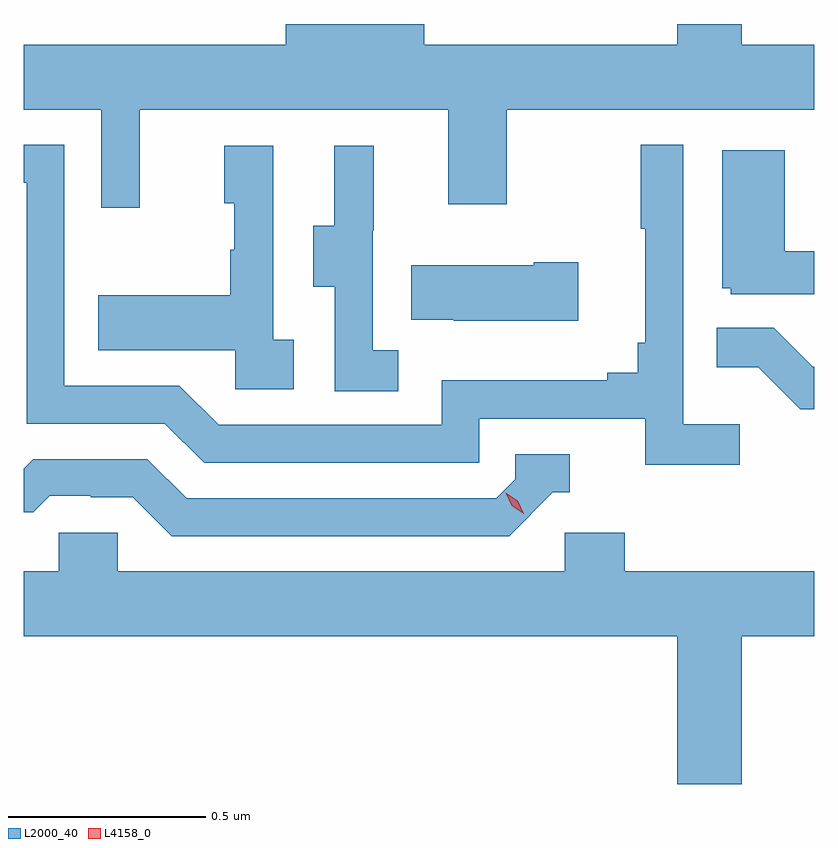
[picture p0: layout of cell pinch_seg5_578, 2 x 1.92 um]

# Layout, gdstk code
import gdstk
lib = gdstk.Library(unit=1e-6, precision=1e-09)
def P(c, l, *ps):  # polygons
    for p in ps: c.add(gdstk.Polygon(p, *l))
L2000_40 = (2000, 40)
L4158_0 = (4158, 0)

pinch_seg5_578 = lib.new_cell('pinch_seg5_578')
P(pinch_seg5_578, L2000_40, [(1110.701,867.416),(1111.481,867.416),(1111.481,867.177),(1111.629,867.177),(1111.629,867.416),(1112.407,867.416),(1112.407,867.58),(1112.224,867.58),(1112.224,867.633),(1112.06,867.633),(1112.06,867.58),(1111.42,867.58),(1111.42,867.633),(1111.07,867.633),(1111.07,867.58),(1110.407,867.58),(1110.407,867.416),(1110.603,867.416),(1110.603,867.168),(1110.701,867.168)],
  [(1112.218,866.62),(1112.076,866.62),(1112.076,867.328),(1111.968,867.328),(1111.968,867.115),(1111.979,867.115),(1111.979,866.827),(1111.96,866.827),(1111.96,866.75),(1111.883,866.75),(1111.883,866.731),(1111.464,866.731),(1111.464,866.619),(1110.9,866.619),(1110.801,866.718),(1110.51,866.718),(1110.51,867.327),(1110.407,867.327),(1110.407,867.231),(1110.414,867.231),(1110.414,866.622),(1110.764,866.622),(1110.863,866.523),(1111.56,866.523),(1111.56,866.634),(1111.979,866.634),(1111.979,866.518),(1112.218,866.518)],
  [(1111.09,866.834),(1111.038,866.834),(1111.038,867.325),(1110.914,867.325),(1110.914,867.18),(1110.94,867.18),(1110.94,867.062),(1110.93,867.062),(1110.93,866.947),(1110.595,866.947),(1110.595,866.807),(1110.942,866.807),(1110.942,866.709),(1111.09,866.709)],
  [(1111.354,866.807),(1111.29,866.807),(1111.29,867.111),(1111.292,867.111),(1111.292,867.325),(1111.193,867.325),(1111.193,867.123),(1111.139,867.123),(1111.139,866.968),(1111.194,866.968),(1111.194,866.704),(1111.354,866.704)],
  [(1112.407,867.058),(1112.332,867.058),(1112.332,867.313),(1112.174,867.313),(1112.174,866.964),(1112.196,866.964),(1112.196,866.949),(1112.407,866.949)],
  [(1111.81,867.03),(1111.697,867.03),(1111.697,867.022),(1111.387,867.022),(1111.387,866.885),(1111.495,866.885),(1111.495,866.882),(1111.81,866.882)],
  [(1112.407,866.766),(1112.403,866.766),(1112.305,866.864),(1112.161,866.864),(1112.161,866.765),(1112.265,866.765),(1112.372,866.658),(1112.407,866.658)],
  [(1111.746,866.448),(1111.789,866.448),(1111.789,866.544),(1111.65,866.544),(1111.65,866.481),(1111.602,866.433),(1110.819,866.433),(1110.72,866.532),(1110.431,866.532),(1110.407,866.508),(1110.407,866.397),(1110.431,866.397),(1110.473,866.439),(1110.576,866.439),(1110.576,866.436),(1110.683,866.436),(1110.782,866.337),(1111.635,866.337)],
  [(1112.224,866.084),(1112.407,866.084),(1112.407,866.248),(1111.928,866.248),(1111.928,866.346),(1111.776,866.346),(1111.776,866.248),(1110.645,866.248),(1110.645,866.346),(1110.495,866.346),(1110.495,866.248),(1110.407,866.248),(1110.407,866.084),(1112.06,866.084),(1112.06,865.71),(1112.224,865.71)])
P(pinch_seg5_578, L4158_0, [(1111.672,866.394),(1111.642,866.414),(1111.626,866.447),(1111.626,866.447),(1111.626,866.447),(1111.657,866.427),(1111.672,866.394),(1111.672,866.394)])

lib.write_gds('pinch_seg5_578.gds')
